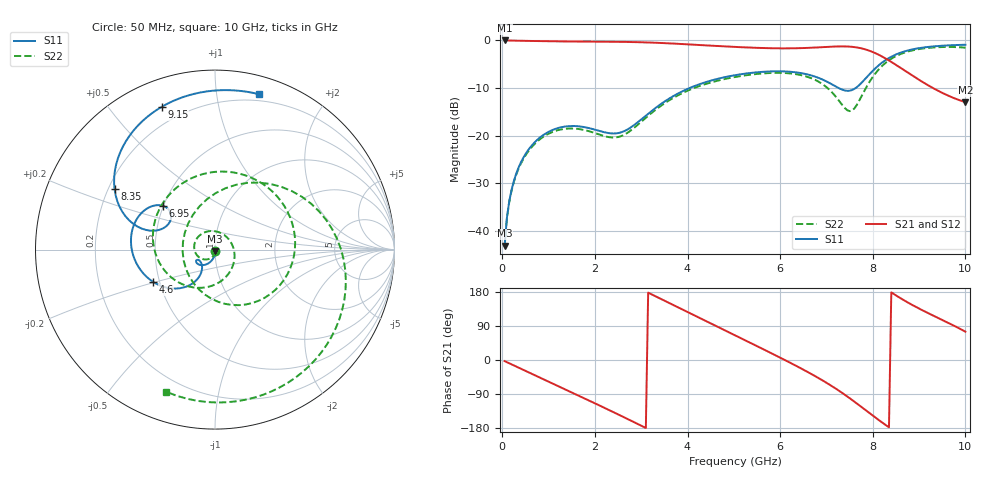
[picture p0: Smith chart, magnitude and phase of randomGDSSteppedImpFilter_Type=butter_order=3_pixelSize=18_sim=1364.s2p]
! freq	dB(S11)	phase(S11)	dB(S12)	phase(S12)
!  dB(S21)	phase(S21)	dB(S22)	phase(S22)
!S-par simulation data
#  GHz  S  DB  R 50
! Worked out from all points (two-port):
!   200 points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, 50 MHz to 10 GHz, reference 50 ohm
!   highest |S21| = -0.01 dB at 50 MHz (marker M1); lowest = -13.0 dB at 10 GHz (marker M2)
!   |S21| within 3 dB of the highest: start of sweep to 8.127 GHz
!   lowest |S11| = -43.1 dB at 50 MHz (marker M3), VSWR 1.01, Z = 50.1 - j0.693 ohm
!   |S11| at or under -10 dB: start of sweep to 4.046 GHz; 7.263 GHz to 7.63 GHz (367.4 MHz wide, 4.93 % of centre)
!   |S22| runs from -43.2 to -1.4 dB; largest |S21 - S12| = 0
!   S11 on the Smith chart (normalised r, x): 50 MHz: 1.00, -0.01; 4.6 GHz: 0.46, -0.19; 6.95 GHz: 0.49, +0.28; 8.35 GHz: 0.23, +0.26; 9.15 GHz: 0.12, +0.69; 10 GHz: 0.14, +1.32
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0.05  -43.13 -83.1  -0.01 -2.9  -0.01 -2.9  -43.22 -84.7
0.2  -31.39 -92.4  -0.05 -11.5  -0.05 -11.5  -31.55 -98.4
0.5  -23.89 -107.0  -0.10 -28.7  -0.10 -28.7  -24.17 -122.8
1.15  -18.58 -133.2  -0.20 -65.7  -0.20 -65.7  -19.00 -174.2
1.75  -18.18 -148.9  -0.25 -99.9  -0.25 -99.9  -18.78 131.5
2.65  -18.98 -130.7  -0.32 -152.4  -0.32 -152.4  -19.72 4.0
3.4  -13.54 -122.1  -0.53 162.6  -0.53 162.6  -13.92 -94.3
4.05  -9.98 -136.8  -0.85 123.5  -0.85 123.5  -10.36 -157.1
4.6  -8.19 -152.6  -1.16 90.6  -1.16 90.6  -8.58 153.2
5.05  -7.27 -165.8  -1.38 63.7  -1.38 63.7  -7.65 112.8
5.55  -6.66 179.4  -1.58 33.7  -1.58 33.7  -7.00 67.8
6.05  -6.50 164.2  -1.68 3.2  -1.68 3.2  -6.83 22.9
6.7  -7.44 145.2  -1.53 -38.7  -1.53 -38.7  -8.05 -38.6
6.95  -8.38 140.1  -1.40 -56.4  -1.40 -56.4  -9.44 -66.5
7.3  -10.18 142.1  -1.26 -83.6  -1.26 -83.6  -13.05 -122.0
7.6  -10.20 156.9  -1.40 -109.7  -1.40 -109.7  -14.32 151.1
8  -6.39 162.4  -2.44 -146.8  -2.44 -146.8  -7.68 64.1
8.35  -3.70 148.9  -4.22 -177.5  -4.22 -177.5  -4.18 20.1
8.7  -2.27 131.7  -6.41 155.7  -6.41 155.7  -2.51 -13.2
9.15  -1.42 110.5  -9.18 126.4  -9.18 126.4  -1.62 -47.6
9.6  -1.06 90.9  -11.48 99.8  -11.48 99.8  -1.38 -78.4
10  -0.92 74.1  -12.97 74.7  -12.97 74.7  -1.54 -109.0
